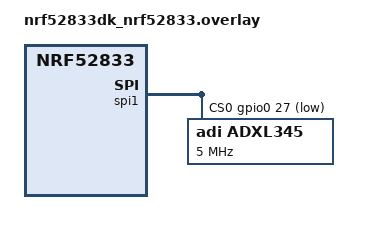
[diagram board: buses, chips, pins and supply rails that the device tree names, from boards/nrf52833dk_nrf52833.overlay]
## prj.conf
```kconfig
#
# Copyright (c) 2024 Nordic Semiconductor
#
# SPDX-License-Identifier: LicenseRef-Nordic-5-Clause
#

CONFIG_LOG=y

CONFIG_CBPRINTF_FP_SUPPORT=y
CONFIG_RESET_ON_FATAL_ERROR=n

# STEP 1.1 - Enable Kconfigs for SPI and GPIO
CONFIG_GPIO=y
CONFIG_SPI=y

CONFIG_ADXL345=y
```

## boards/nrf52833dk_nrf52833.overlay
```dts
/* STEP 2.1 - Add the SPI peripheral to spi1 */
&i2c0 {	status = "disabled";};
&spi0 {	status = "disabled";};
&i2c1 {	status = "disabled";};
	
&spi1 {
	status = "okay";
	cs-gpios = <&gpio0 27 GPIO_ACTIVE_LOW>; // CS on P0.27

	adxl345: adxl345@0 {
		compatible = "adi,adxl345";
		reg = <0>;  // CS index
		spi-max-frequency = <5000000>; // 5 MHz
		label = "ADXL345";
		spi-cpha;
		spi-cpol;
		interrupt-parent = <&gpio0>;
		// interrupts = <15 GPIO_ACTIVE_HIGH>; // Optional: if using INT1
	};
};

&pinctrl {
	spi1_default: spi1_default {
		group1 {
				psels = <NRF_PSEL(SPIM_SCK, 0, 23)>,
						<NRF_PSEL(SPIM_MOSI, 0, 2)>,
						<NRF_PSEL(SPIM_MISO, 0, 26)>;
		};
	};

	spi1_sleep: spi1_sleep {
		group1 {
				psels = <NRF_PSEL(SPIM_SCK, 0, 23)>,
						<NRF_PSEL(SPIM_MOSI, 0, 2)>,
						<NRF_PSEL(SPIM_MISO, 0, 26)>;
				low-power-enable;
		};
	};
};
```

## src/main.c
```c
#include <zephyr/kernel.h>
#include <zephyr/logging/log.h>

#include <zephyr/device.h>
#include <zephyr/devicetree.h>
#include <zephyr/drivers/gpio.h>
#include <zephyr/drivers/spi.h>

LOG_MODULE_REGISTER(Lesson5_Exercise1, LOG_LEVEL_INF);

/*
 * ADXL345 to nRF52833 SPI Pin Mapping
 *
 * | ADXL345 Pin | nRF52833 Pin     | Notes                  |
 * |-------------|------------------|------------------------|
 * | VCC         | 3.3V             | Use VDD from nRF52833  |
 * | GND         | GND              | Common ground          |
 * | CS          | P0.27            | Controlled by software |
 * | SCL (SCLK)  | P0.23            | SPI clock              |
 * | SDA (MOSI)  | P0.2             | Data from nRF to ADXL  |
 * | SDO (MISO)  | P0.26            | Data from ADXL to nRF  |
 * | INT1        | P0.15 (optional) | If using interrupts    |
 * | INT2        | -                | Not used               |
 */



#define SPIOP	SPI_WORD_SET(8) | SPI_TRANSFER_MSB
#define ADXL345_REG_DATAX0 0x32
#define ADXL345_READ_MULTI (1 << 7 | 1 << 6)  // bit7=Read, bit6=Multi-byte


struct spi_dt_spec spispec = SPI_DT_SPEC_GET(DT_NODELABEL(adxl345), SPIOP, 0);

int adxl345_spi_read_reg(uint8_t reg_addr, uint8_t *val)
{
    uint8_t tx_buf[2] = { reg_addr | 0x80, 0x00 };  // Set read bit
    uint8_t rx_buf[2] = { 0 };

    struct spi_buf tx = {
        .buf = tx_buf,
        .len = 2
    };
    struct spi_buf rx = {
        .buf = rx_buf,
        .len = 2
    };

    struct spi_buf_set tx_set = {
        .buffers = &tx,
        .count = 1
    };
    struct spi_buf_set rx_set = {
        .buffers = &rx,
        .count = 1
    };

    int ret = spi_transceive_dt(&spispec, &tx_set, &rx_set);
    if (ret == 0) {
        *val = rx_buf[1];  // second byte is data
    }
    return ret;
}

int adxl345_read_xyz(int16_t *x, int16_t *y, int16_t *z)
{
    uint8_t tx_buf[7] = { ADXL345_REG_DATAX0 | ADXL345_READ_MULTI };  // 1-byte cmd + 6 dummy
    uint8_t rx_buf[7] = { 0 };

    struct spi_buf tx = {
        .buf = tx_buf,
        .len = 7
    };
    struct spi_buf rx = {
        .buf = rx_buf,
        .len = 7
    };

    struct spi_buf_set tx_set = { .buffers = &tx, .count = 1 };
    struct spi_buf_set rx_set = { .buffers = &rx, .count = 1 };

    int ret = spi_transceive_dt(&spispec, &tx_set, &rx_set);
    if (ret != 0) {
        return ret;
    }

    // Combine little-endian bytes
    *x = (int16_t)((rx_buf[2] << 8) | rx_buf[1]);
    *y = (int16_t)((rx_buf[4] << 8) | rx_buf[3]);
    *z = (int16_t)((rx_buf[6] << 8) | rx_buf[5]);

    return 0;
}

static int adxl345_write_reg(uint8_t reg, uint8_t val)
{
    uint8_t tx_buf[] = { reg & 0x3F, val };  // Write command
    struct spi_buf tx = { .buf = tx_buf, .len = 2 };
    struct spi_buf_set tx_set = { .buffers = &tx, .count = 1 };
    return spi_write_dt(&spispec, &tx_set);
}

static int adxl345_read_reg(uint8_t reg, uint8_t *val)
{
    uint8_t tx_buf[2] = { reg | 0x80, 0x00 };  // Read command
    uint8_t rx_buf[2] = { 0 };

    struct spi_buf tx = { .buf = tx_buf, .len = 2 };
    struct spi_buf rx = { .buf = rx_buf, .len = 2 };
    struct spi_buf_set tx_set = { .buffers = &tx, .count = 1 };
    struct spi_buf_set rx_set = { .buffers = &rx, .count = 1 };

    int ret = spi_transceive_dt(&spispec, &tx_set, &rx_set);
    if (ret == 0) *val = rx_buf[1];
    return ret;
}

#define ADXL345_DEVID_REG       0x00
#define ADXL345_POWER_CTL_REG   0x2D
#define ADXL345_DATA_FORMAT_REG 0x31
#define ADXL345_BW_RATE_REG     0x2C

#define ADXL345_DEVID           0xCB
#define ADXL345_MEASURE         0x08
#define ADXL345_RANGE_2G        0x00
#define ADXL345_RATE_100HZ      0x0A  // Output Data Rate = 100 Hz
#define DELAY_VALUES 10  // Delay in milliseconds

int adxl345_init(void)
{
    if (!spi_is_ready_dt(&spispec)) {
        printk("SPI device not ready!\n");
        return -ENODEV;
    }

    uint8_t devid;
    int ret = adxl345_read_reg(ADXL345_DEVID_REG, &devid);
    if (ret != 0 || devid != ADXL345_DEVID) {
        printk("ADXL345 not detected! Read 0x%02X\n", devid);
        return -EIO;
    }

    printk("ADXL345 detected. DEVID: 0x%02X\n", devid);

    // Set BW_RATE to 100 Hz
    if (adxl345_write_reg(ADXL345_BW_RATE_REG, ADXL345_RATE_100HZ)) {
        printk("Failed to set BW_RATE\n");
        return -EIO;
    }

    // Set data format to ±2g, right-justified, full-res disabled
    if (adxl345_write_reg(ADXL345_DATA_FORMAT_REG, ADXL345_RANGE_2G)) {
        printk("Failed to set data format\n");
        return -EIO;
    }

    // Enable measurement mode
    if (adxl345_write_reg(ADXL345_POWER_CTL_REG, ADXL345_MEASURE)) {
        printk("Failed to enable measurement\n");
        return -EIO;
    }

    printk("ADXL345 initialization complete.\n");
    return 0;
}

int main(void)
{
	int err;
	
	err = spi_is_ready_dt(&spispec);
	if (!err) {
		LOG_ERR("Error: SPI device is not ready, err: %d", err);
		return 0;
	}

	LOG_INF("SPI device is ready ");

	if (adxl345_init() != 0) {
        printk("Sensor init failed\n");
        return -1;
    }

	int16_t x, y, z;

	while(1){
		/* STEP 10.4 - Continuously read sensor samples and toggle led */
		// bme_read_sample();

		if (adxl345_read_xyz(&x, &y, &z) == 0) {
            printk("X: %d  Y: %d  Z: %d\n", x, y, z);
        } else {
            printk("Failed to read XYZ\n");
        }

		// gpio_pin_toggle_dt(&ledspec);
		k_msleep(DELAY_VALUES);
	}

	return 0;
}
```
